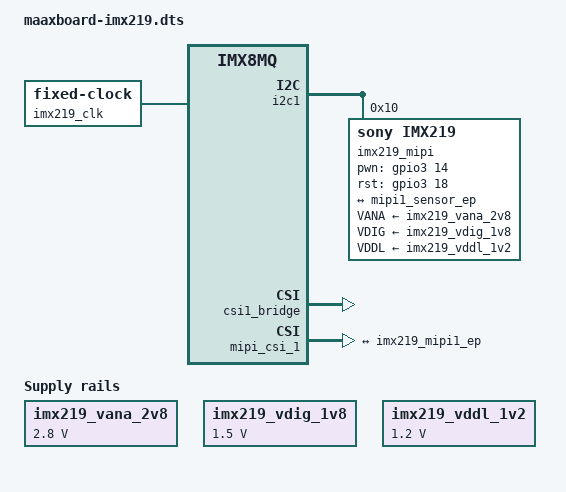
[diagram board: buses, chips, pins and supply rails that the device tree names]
/dts-v1/;
/plugin/;

#include <dt-bindings/clock/imx8mq-clock.h>
#include <dt-bindings/gpio/gpio.h>

/{
	compatible = "avnet,maaxboard", "fsl,imx8mq";

    fragment@0 {
        target = <&i2c1>;
        __overlay__ {
            #address-cells = <1>;
			#size-cells = <0>;
            imx219_mipi@10 {
                compatible = "sony,imx219";
                reg = <0x10>;
                pinctrl-names = "default";
				pinctrl-0 = <&pinctrl_csi1>;

                clocks = <&imx219_clk>;
				clock-names = "xclk";

				VANA-supply = <&imx219_vana_2v8>;	/* 2.8v */
				VDIG-supply = <&imx219_vdig_1v8>;	/* 1.8v */
				VDDL-supply = <&imx219_vddl_1v2>;	/* 1.2v */

                csi_id = <0>;
				pwn-gpios = <&gpio3 14 GPIO_ACTIVE_HIGH>;
				rst-gpios = <&gpio3 18 GPIO_ACTIVE_HIGH>;
				status = "okay";

                port {
					imx219_mipi1_ep: endpoint {
                        clock-lanes = <0>;
				        data-lanes = <1 2>;
                        remote-endpoint = <&mipi1_sensor_ep>;
						link-frequencies =
							/bits/ 64 <456000000>;
					};
				};
            };
        };
    };

    fragment@1 {
		target = <&csi1_bridge>;
		__overlay__ {
			status = "okay";
		};
	};

    fragment@2 {
		target = <&mipi_csi_1>;
		__overlay__ {
			status = "okay";
			port {
				mipi1_sensor_ep: endpoint@0 {
					remote-endpoint = <&imx219_mipi1_ep>;
				    data-lanes = <1 2>;
                    bus-type = <4>;
				};
			};
		};
	};

	fragment@3 {
		target-path="/";
		__overlay__ {
			imx219_vana_2v8: 2p8v {
				compatible = "regulator-fixed";
				regulator-name = "camera_vana";
				regulator-min-microvolt = <2800000>;
				regulator-max-microvolt = <2800000>;
				regulator-always-on;
			};

			imx219_vdig_1v8: 1p8v {
				compatible = "regulator-fixed";
				regulator-name = "camera_vdig";
				regulator-min-microvolt = <1500000>;
				regulator-max-microvolt = <1500000>;
				regulator-always-on;
			};

			imx219_vddl_1v2: 1p2v {
				compatible = "regulator-fixed";
				regulator-name = "camera_vddl";
				regulator-min-microvolt = <1200000>;
				regulator-max-microvolt = <1200000>;
				regulator-always-on;
			};

			imx219_clk: camera-clk {
				compatible = "fixed-clock";
				#clock-cells = <0>;
				clock-frequency = <24000000>;
			};
		};
	};

};
